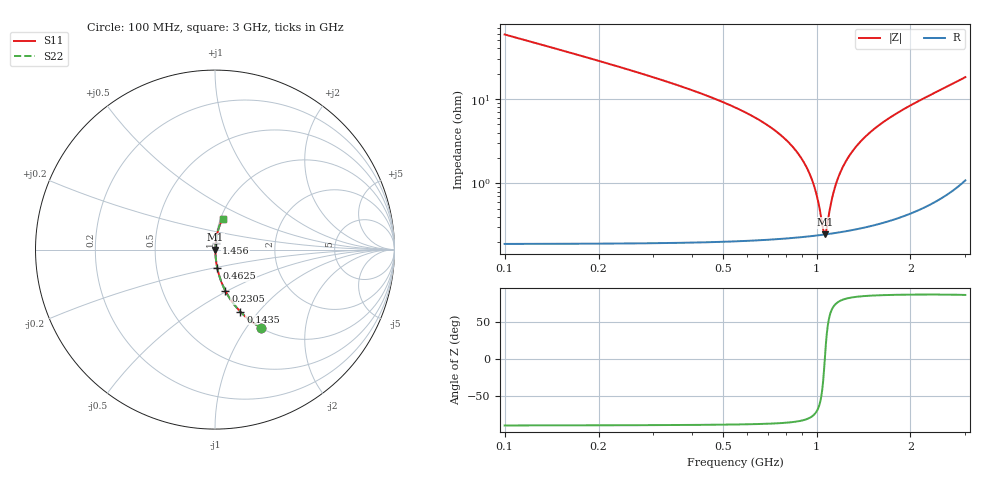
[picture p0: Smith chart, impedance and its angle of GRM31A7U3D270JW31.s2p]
!Murata Part Number: GRM31A7U3D270JW31
!These Parameters are Measured in Series Mode Connection
!Data Generated on Mar 30, 2021
!  o--ll--o
!Port1  Port2
!  o------o
!Operation Temp=25[degC], DC Bias Voltage=0[V]
!Freq. Start=100[MHz] Stop=3[GHz] 401[Steps]
# Hz S RI R 50
!Freq.(Hz) S11(Real) S11(Imag) S21(Real) S21(Imag) S12(Real) S12(Imag) S22(Real) S22(Imag)
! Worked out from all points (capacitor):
!   401 points, 100 MHz to 3 GHz, reference 50 ohm
!   read as one part in series: C = 27 pF near 114.5 MHz
!   lowest |Z| = 248 mohm at 1.064 GHz (marker M1)
!   series resonance near 1.063 GHz, so ESL is about 830 pH
!   S11 on the Smith chart (normalised r, x): 100 MHz: 1.00, -1.17; 143.5 MHz: 1.00, -0.81; 230.5 MHz: 1.00, -0.49; 462.5 MHz: 1.00, -0.21; 1.456 GHz: 1.01, +0.08; 3 GHz: 1.02, +0.36
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1e8  0.2553 -0.4344  0.7447 0.4344  0.7447 0.4344  0.2553 -0.4344
1.435e8  0.1412 -0.3459  0.8588 0.3459  0.8588 0.3459  0.1412 -0.3459
2.305e8  0.0578 -0.2295  0.9422 0.2295  0.9422 0.2295  0.0578 -0.2295
4.625e8  0.0126 -0.1024  0.9874 0.1024  0.9874 0.1024  0.0126 -0.1024
5.8575e8  0.00701 -0.0701  0.993 0.0701  0.993 0.0701  0.00701 -0.0701
7.815e8  0.00343 -0.035  0.9966 0.035  0.9966 0.035  0.00343 -0.035
9.0475e8  0.00264 -0.0183  0.9974 0.0183  0.9974 0.0183  0.00264 -0.0183
9.4825e8  0.00251 -0.0129  0.9975 0.0129  0.9975 0.0129  0.00251 -0.0129
9.845e8  0.00246 -0.00869  0.9975 0.00869  0.9975 0.00869  0.00246 -0.00869
1.0135e9  0.00244 -0.0054  0.9976 0.0054  0.9976 0.0054  0.00244 -0.0054
1.04975e9  0.00245 -0.00141  0.9975 0.00141  0.9975 0.00141  0.00245 -0.00141
1.06425e9  0.00247 0.000154  0.9975 -0.000154  0.9975 -0.000154  0.00247 0.000154
1.0715e9  0.00248 0.000928  0.9975 -0.000928  0.9975 -0.000928  0.00248 0.000928
1.115e9  0.00256 0.00548  0.9974 -0.00548  0.9974 -0.00548  0.00256 0.00548
1.13675e9  0.00261 0.0077  0.9974 -0.0077  0.9974 -0.0077  0.00261 0.0077
1.202e9  0.00284 0.0142  0.9972 -0.0142  0.9972 -0.0142  0.00284 0.0142
1.31075e9  0.00339 0.0244  0.9966 -0.0244  0.9966 -0.0244  0.00339 0.0244
1.45575e9  0.00444 0.0374  0.9956 -0.0374  0.9956 -0.0374  0.00444 0.0374
1.55e9  0.00529 0.0455  0.9947 -0.0455  0.9947 -0.0455  0.00529 0.0455
2.03575e9  0.0119 0.0857  0.9881 -0.0857  0.9881 -0.0857  0.0119 0.0857
2.5215e9  0.0232 0.1271  0.9768 -0.1271  0.9768 -0.1271  0.0232 0.1271
3e9  0.0418 0.1725  0.9582 -0.1725  0.9582 -0.1725  0.0418 0.1725
